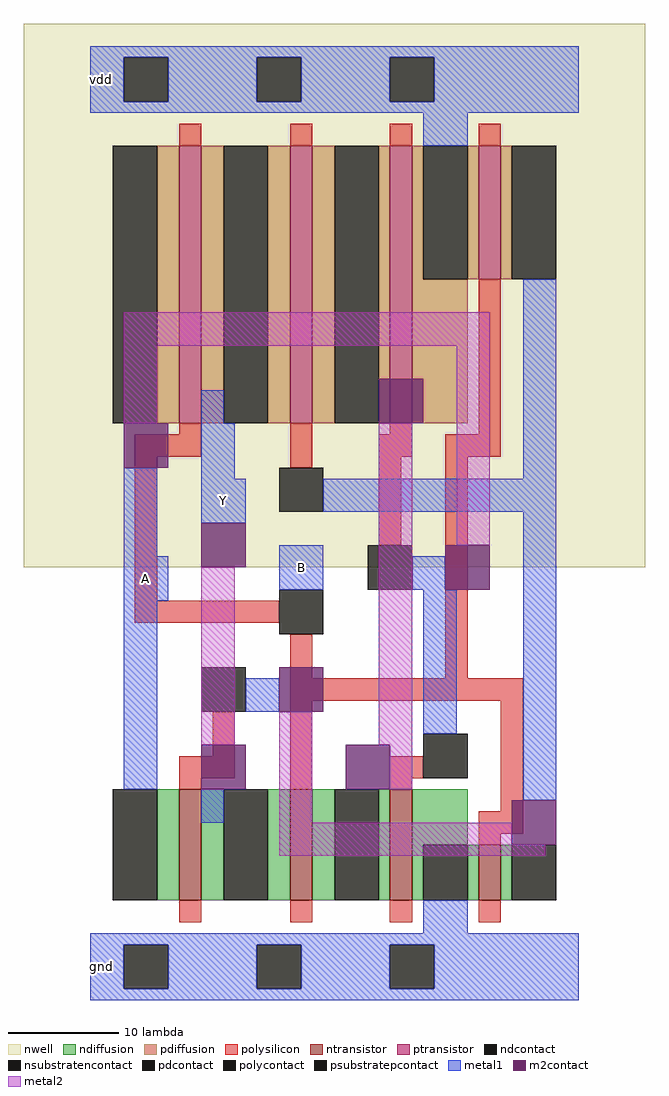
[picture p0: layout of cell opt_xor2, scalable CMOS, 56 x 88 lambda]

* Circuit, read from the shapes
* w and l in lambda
.subckt opt_xor2 A B Y vdd gnd
M1 Y n1 A gnd nfet w=10 l=2
M2 n2 B Y gnd nfet w=10 l=2
M3 gnd A n2 gnd nfet w=10 l=2
M4 n1 B gnd gnd nfet w=5 l=2
M5 Y B A vdd pfet w=25 l=2
M6 n2 n1 Y vdd pfet w=25 l=2
M7 vdd A n2 vdd pfet w=25 l=2
M8 n1 B vdd vdd pfet w=12 l=2
.ends

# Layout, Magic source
magic
tech scmos
<< nwell >>
rect -6 36 50 85
<< ndiffusion >>
rect 6 6 8 16
rect 10 6 12 16
rect 16 6 18 16
rect 20 6 22 16
rect 26 6 27 16
rect 29 6 30 11
rect 34 6 35 11
rect 37 6 38 11
rect 29 11 34 16
<< pdiffusion >>
rect 6 49 8 74
rect 10 49 12 74
rect 16 49 18 74
rect 20 49 22 74
rect 26 49 27 74
rect 29 49 34 62
rect 29 62 30 74
rect 34 62 35 74
rect 37 62 38 74
<< polysilicon >>
rect 8 4 10 6
rect 18 4 20 6
rect 27 4 29 6
rect 35 4 37 6
rect 35 11 37 12
rect 35 12 39 14
rect 37 14 39 24
rect 8 16 10 17
rect 18 16 20 24
rect 27 16 29 17
rect 8 17 13 19
rect 27 17 30 19
rect 11 19 13 23
rect 18 24 39 26
rect 18 26 20 30
rect 32 26 34 46
rect 4 31 17 33
rect 4 33 6 46
rect 26 38 28 46
rect 18 45 20 49
rect 4 46 10 48
rect 26 46 29 48
rect 32 46 37 48
rect 8 48 10 49
rect 27 48 29 49
rect 35 48 37 62
rect 8 74 10 76
rect 18 74 20 76
rect 27 74 29 76
rect 35 74 37 76
<< ntransistor >>
rect 8 6 10 16
rect 18 6 20 16
rect 27 6 29 16
rect 35 6 37 11
<< ptransistor >>
rect 8 49 10 74
rect 18 49 20 74
rect 27 49 29 74
rect 35 62 37 74
<< ndcontact >>
rect 2 6 6 16
rect 12 6 16 16
rect 22 6 26 16
rect 30 6 34 11
rect 38 6 42 11
<< pdcontact >>
rect 2 49 6 74
rect 12 49 16 74
rect 22 49 26 74
rect 30 62 34 74
rect 38 62 42 74
<< polycontact >>
rect 30 17 34 21
rect 10 23 14 27
rect 17 30 21 34
rect 25 34 29 38
rect 17 41 21 45
<< psubstratepcontact >>
rect 3 -2 7 2
rect 15 -2 19 2
rect 27 -2 31 2
<< nsubstratencontact >>
rect 3 78 7 82
rect 15 78 19 82
rect 27 78 31 82
<< metal1 >>
rect 0 -3 44 -2
rect 0 -2 3 2
rect 7 -2 15 2
rect 19 -2 27 2
rect 31 -2 44 2
rect 0 2 44 3
rect 30 3 34 6
rect 10 13 12 16
rect 39 15 42 41
rect 3 16 6 33
rect 30 21 33 34
rect 14 23 17 26
rect 3 33 7 37
rect 17 34 21 38
rect 29 34 32 37
rect 3 37 6 45
rect 10 40 14 44
rect 21 41 42 44
rect 10 44 13 49
rect 39 44 42 62
rect 10 49 12 52
rect 30 74 34 77
rect 0 77 44 78
rect 0 78 3 82
rect 7 78 15 82
rect 19 78 27 82
rect 31 78 44 82
rect 0 82 44 83
<< m2contact >>
rect 38 11 42 15
rect 10 16 14 20
rect 23 16 27 20
rect 17 23 21 27
rect 32 34 36 38
rect 10 36 14 40
rect 3 45 7 49
rect 26 49 30 53
<< metal2 >>
rect 17 10 41 11
rect 17 11 38 13
rect 17 13 20 23
rect 27 16 29 20
rect 10 20 13 36
rect 26 20 29 49
rect 33 38 36 56
rect 3 49 6 56
rect 3 56 36 59
<< labels >>
rlabel metal1 s 3 33 7 37 0 A
port 1 nsew signal input
rlabel metal1 s 17 34 21 38 0 B
port 2 nsew signal input
rlabel metal1 s 10 40 14 44 0 Y
port 3 nsew signal output
rlabel metal1 s 0 77 2 83 0 vdd
port 4 nsew power bidirectional
rlabel metal1 s 0 -3 2 3 0 gnd
port 5 nsew ground bidirectional
<< properties >>
string FIXED_BBOX 0 0 44 80
<< end >>
